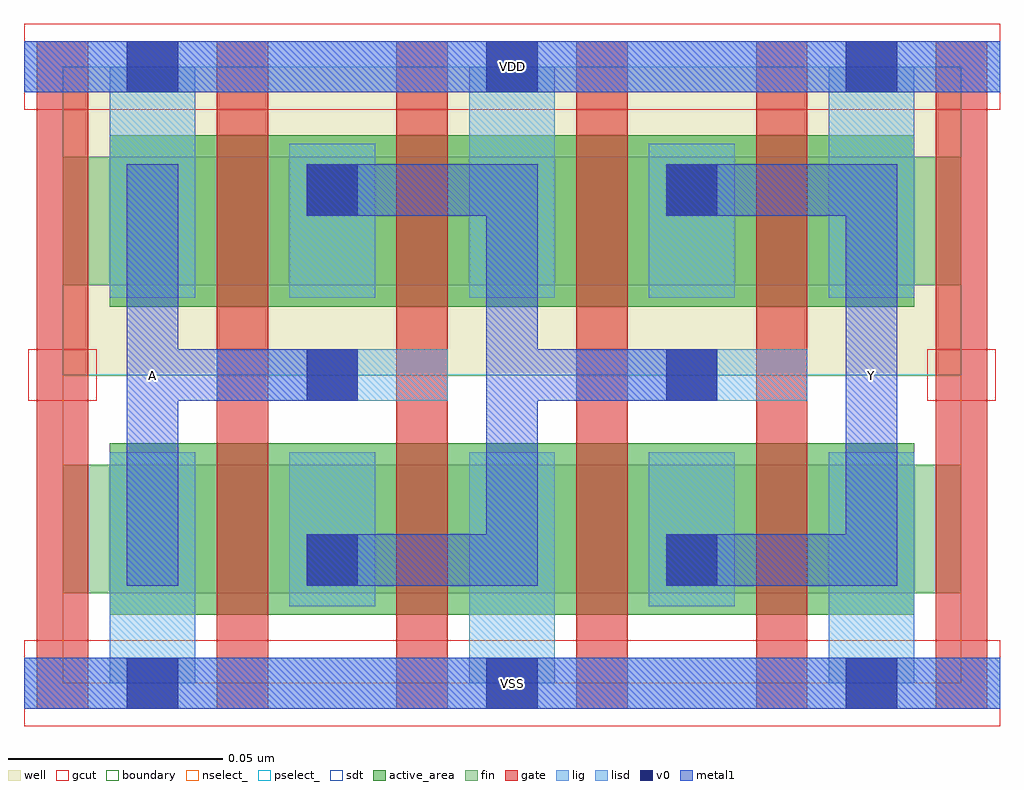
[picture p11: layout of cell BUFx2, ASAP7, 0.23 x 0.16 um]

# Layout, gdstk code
import gdstk
lib = gdstk.Library(unit=1e-6, precision=2.5e-10)
def R(c, l, rs):  # rectangles x0, y0, x1, y1
    for r in rs: c.add(gdstk.rectangle(r[:2], r[2:], *l))
def A(c, l, x, y, w, h, nx, ny, dx, dy):  # array of equal rectangles
    R(c, l, [(x+i*dx, y+j*dy, x+i*dx+w, y+j*dy+h) for i in range(nx) for j in range(ny)])
def P(c, l, *ps):  # polygons
    for p in ps: c.add(gdstk.Polygon(p, *l))
well = (1, 0)
fin = (2, 0)
gate = (7, 0)
gcut = (10, 0)
active_area = (11, 0)
nselect_ = (12, 0)
pselect_ = (13, 0)
lig = (16, 0)
lisd = (17, 0)
v0 = (18, 0)
metal1 = (19, 0)
sdt = (88, 0)
boundary = (100, 0)

bufx2 = lib.new_cell('BUFx2')
R(bufx2, well, [(0,0.072,0.21,0.144)])
R(bufx2, fin, [(0,0.021,0.21,0.051), (0,0.093,0.21,0.123)])
A(bufx2, gate, -0.006, -0.006, 0.012, 0.156, 6, 1, 0.042, 0)
R(bufx2, gcut, [(-0.009,-0.01,0.219,0.01), (-0.008,0.066,0.008,0.078), (0.202,0.066,0.218,0.078), (-0.009,0.134,0.219,0.154)])
R(bufx2, active_area, [(0.011,0.016,0.199,0.056), (0.011,0.088,0.199,0.128)])
R(bufx2, nselect_, [(0,0,0.21,0.072)])
R(bufx2, pselect_, [(0,0.072,0.21,0.144)])
R(bufx2, lig, [(-0.009,-0.006,0.219,0.006), (0.036,0.066,0.09,0.078), (0.12,0.066,0.174,0.078), (-0.009,0.138,0.219,0.15)])
A(bufx2, lisd, 0.011, 0, 0.02, 0.054, 3, 2, 0.084, 0.09)
R(bufx2, lisd, [(0.053,0.018,0.073,0.054), (0.137,0.018,0.157,0.054), (0.053,0.09,0.073,0.126), (0.137,0.09,0.157,0.126)])
A(bufx2, v0, 0.015, -0.006, 0.012, 0.012, 3, 2, 0.084, 0.144)
A(bufx2, v0, 0.057, 0.0227, 0.012, 0.012, 1, 3, 0, 0.0433)
A(bufx2, v0, 0.141, 0.0227, 0.012, 0.012, 1, 3, 0, 0.0433)
R(bufx2, metal1, [(-0.009,-0.006,0.219,0.006), (-0.009,0.138,0.219,0.15)])
P(bufx2, metal1, [(0.141,0.0348),(0.141,0.0227),(0.195,0.0227),(0.195,0.1212),(0.141,0.1212),(0.141,0.1092),(0.183,0.1092),(0.183,0.0348)],
  [(0.015,0.1212),(0.015,0.0227),(0.027,0.0227),(0.027,0.066),(0.069,0.066),(0.069,0.078),(0.027,0.078),(0.027,0.1212)],
  [(0.057,0.0348),(0.057,0.0227),(0.111,0.0227),(0.111,0.066),(0.153,0.066),(0.153,0.078),(0.111,0.078),(0.111,0.1212),(0.057,0.1212),(0.057,0.1092),(0.099,0.1092),(0.099,0.0348)])
A(bufx2, sdt, 0.011, 0.021, 0.02, 0.03, 5, 2, 0.042, 0.072)
R(bufx2, boundary, [(0,0,0.21,0.144)])
bufx2.add(gdstk.Label('Y', (0.189,0.072), layer=19, texttype=251))
bufx2.add(gdstk.Label('A', (0.021,0.072), layer=19, texttype=251))
bufx2.add(gdstk.Label('VSS', (0.105,0), layer=19, texttype=251))
bufx2.add(gdstk.Label('VDD', (0.105,0.144), layer=19, texttype=251))

lib.write_gds('BUFx2.gds')
